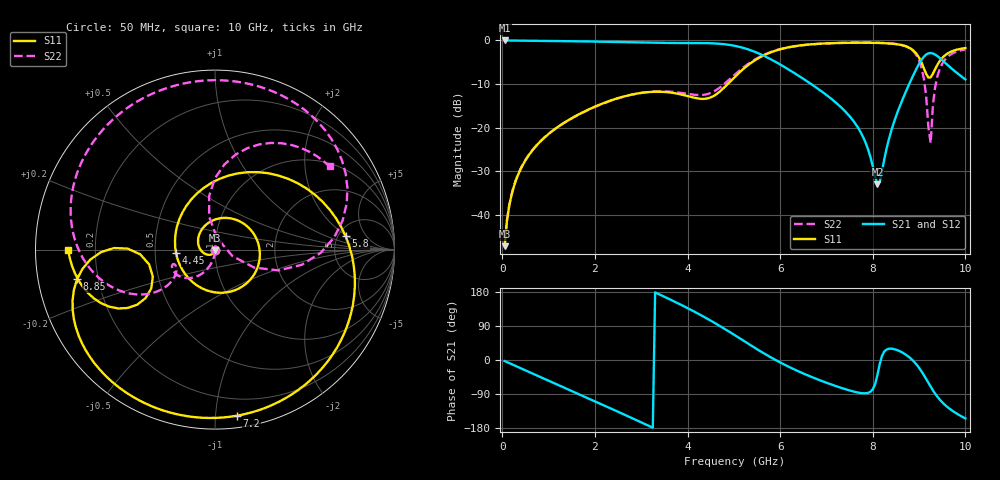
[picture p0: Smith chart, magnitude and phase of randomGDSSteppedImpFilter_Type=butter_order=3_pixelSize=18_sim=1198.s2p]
! freq	dB(S11)	phase(S11)	dB(S12)	phase(S12)
!  dB(S21)	phase(S21)	dB(S22)	phase(S22)
!S-par simulation data
#  GHz  S  DB  R 50
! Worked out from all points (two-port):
!   200 points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, 50 MHz to 10 GHz, reference 50 ohm
!   highest |S21| = -0.01 dB at 50 MHz (marker M1); lowest = -33.0 dB at 8.1 GHz (marker M2)
!   |S21| within 3 dB of the highest: start of sweep to 5.542 GHz; 9.192 GHz to 9.302 GHz (109.6 MHz wide, 1.18 % of centre)
!   lowest |S11| = -47.1 dB at 50 MHz (marker M3), VSWR 1.01, Z = 50 - j0.439 ohm
!   |S11| at or under -10 dB: start of sweep to 4.867 GHz
!   |S22| runs from -47.1 to -0.5 dB; largest |S21 - S12| = 0
!   S11 on the Smith chart (normalised r, x): 50 MHz: 1.00, -0.01; 4.45 GHz: 0.64, -0.03; 5.8 GHz: 5.85, +1.86; 7.2 GHz: 0.08, -1.14; 8.85 GHz: 0.12, -0.10; 10 GHz: 0.10, -0.00
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0.05  -47.15 -89.7  -0.01 -2.8  -0.01 -2.8  -47.08 -85.4
0.2  -35.39 -107.6  -0.02 -10.9  -0.02 -10.9  -35.28 -92.0
0.5  -27.47 -136.9  -0.05 -27.2  -0.05 -27.2  -27.37 -98.0
1.15  -20.20 161.8  -0.12 -62.5  -0.12 -62.5  -20.21 -108.6
1.75  -16.40 105.9  -0.21 -95.2  -0.21 -95.2  -16.47 -118.1
2.65  -12.77 25.9  -0.42 -144.9  -0.42 -144.9  -12.82 -136.4
3.4  -11.76 -39.8  -0.56 172.8  -0.56 172.8  -11.67 -153.9
4.45  -13.24 -174.4  -0.62 107.4  -0.62 107.4  -12.23 -151.5
5.05  -8.05 86.1  -1.30 63.1  -1.30 63.1  -7.57 -145.0
5.4  -4.94 44.3  -2.39 36.1  -2.39 36.1  -4.73 -156.9
5.8  -2.71 5.8  -4.33 6.9  -4.33 6.9  -2.64 -176.3
6.7  -0.87 -56.5  -10.22 -45.8  -10.22 -45.8  -0.88 139.7
7.2  -0.60 -82.5  -14.22 -68.7  -14.22 -68.7  -0.61 117.1
7.75  -0.52 -108.0  -21.27 -87.3  -21.27 -87.3  -0.50 92.1
8.1  -0.57 -124.2  -32.95 -39.7  -32.95 -39.7  -0.53 74.7
8.35  -0.69 -136.5  -22.56 29.8  -22.56 29.8  -0.63 60.6
8.85  -2.09 -167.9  -8.53 0.5  -8.53 0.5  -2.19 19.2
9.1  -6.27 179.4  -3.78 -39.3  -3.78 -39.3  -8.57 -18.1
9.25  -8.45 -156.5  -2.88 -70.5  -2.88 -70.5  -23.55 80.7
9.3  -7.61 -148.6  -3.00 -80.4  -3.00 -80.4  -14.62 100.1
9.45  -4.66 -146.2  -4.06 -105.0  -4.06 -105.0  -6.44 83.8
10  -1.74 -180.0  -8.94 -154.2  -8.94 -154.2  -2.06 36.0
